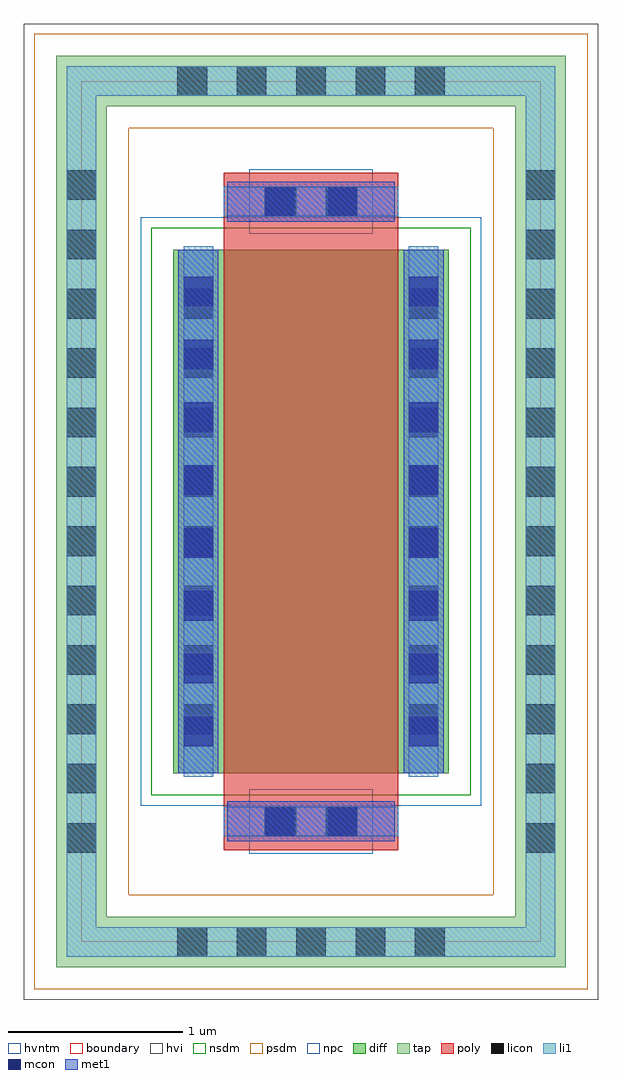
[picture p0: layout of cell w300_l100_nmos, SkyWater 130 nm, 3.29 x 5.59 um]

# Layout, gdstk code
import gdstk
lib = gdstk.Library(unit=1e-6, precision=1e-09)
def R(c, l, rs):  # rectangles x0, y0, x1, y1
    for r in rs: c.add(gdstk.rectangle(r[:2], r[2:], *l))
def A(c, l, x, y, w, h, nx, ny, dx, dy):  # array of equal rectangles
    R(c, l, [(x+i*dx, y+j*dy, x+i*dx+w, y+j*dy+h) for i in range(nx) for j in range(ny)])
diff = (65, 20)
tap = (65, 44)
poly = (66, 20)
licon = (66, 44)
li1 = (67, 20)
mcon = (67, 44)
met1 = (68, 20)
hvi = (75, 20)
nsdm = (93, 44)
psdm = (94, 20)
npc = (95, 20)
hvntm = (125, 20)
boundary = (235, 4)

sky130_fd_pr__nfet_g5v0d = lib.new_cell('sky130_fd_pr__nfet_g5v0d10v5')

w300_l100_nmos = lib.new_cell('w300_l100_nmos')
R(w300_l100_nmos, diff, [(-0.79,-1.5,0.79,1.5)])
R(w300_l100_nmos, tap, [(-1.46,-2.61,1.46,-2.32), (-1.46,-2.32,-1.17,2.32), (1.17,-2.32,1.46,2.32), (-1.46,2.32,1.46,2.61)])
R(w300_l100_nmos, poly, [(-0.5,-1.94,0.5,1.94)])
A(w300_l100_nmos, licon, -0.765, -2.55, 0.17, 0.17, 5, 2, 0.34, 4.93)
A(w300_l100_nmos, licon, -1.4, -1.955, 0.17, 0.17, 1, 12, 0, 0.34)
A(w300_l100_nmos, licon, 1.23, -1.955, 0.17, 0.17, 1, 12, 0, 0.34)
A(w300_l100_nmos, licon, -0.73, -1.275, 0.17, 0.17, 1, 8, 0, 0.34)
A(w300_l100_nmos, licon, 0.56, -1.275, 0.17, 0.17, 1, 8, 0, 0.34)
R(w300_l100_nmos, licon, [(-0.255,-1.86,-0.085,-1.69), (0.085,-1.86,0.255,-1.69), (-0.255,1.69,-0.085,1.86), (0.085,1.69,0.255,1.86)])
R(w300_l100_nmos, li1, [(-1.4,-2.55,1.4,-2.38), (-1.4,-2.38,-1.23,2.38), (1.23,-2.38,1.4,2.38), (-0.5,-1.86,0.5,-1.69), (-0.73,-1.52,-0.56,1.52), (0.56,-1.52,0.73,1.52), (-0.5,1.69,0.5,1.86), (-1.4,2.38,1.4,2.55)])
A(w300_l100_nmos, mcon, -0.73, -1.345, 0.17, 0.17, 1, 8, 0, 0.36)
A(w300_l100_nmos, mcon, 0.56, -1.345, 0.17, 0.17, 1, 8, 0, 0.36)
R(w300_l100_nmos, mcon, [(-0.265,-1.86,-0.095,-1.69), (0.095,-1.86,0.265,-1.69), (-0.265,1.69,-0.095,1.86), (0.095,1.69,0.265,1.86)])
R(w300_l100_nmos, met1, [(-0.48,-1.89,0.48,-1.66), (-0.76,-1.5,-0.53,1.5), (0.53,-1.5,0.76,1.5), (-0.48,1.66,0.48,1.89)])
R(w300_l100_nmos, hvi, [(-1.645,-2.795,1.645,2.795)])
R(w300_l100_nmos, nsdm, [(-0.915,-1.625,0.915,1.625)])
R(w300_l100_nmos, psdm, [(-1.585,-2.735,1.585,-2.195), (-1.585,-2.195,-1.045,2.195), (1.045,-2.195,1.585,2.195), (-1.585,2.195,1.585,2.735)])
R(w300_l100_nmos, npc, [(-0.355,-1.96,0.355,-1.59), (-0.355,1.59,0.355,1.96)])
R(w300_l100_nmos, hvntm, [(-0.975,-1.685,0.975,1.685)])
R(w300_l100_nmos, boundary, [(-1.315,-2.465,1.315,2.465)])
w300_l100_nmos.add(gdstk.Reference(sky130_fd_pr__nfet_g5v0d, (0,0)))

lib.write_gds('w300_l100_nmos.gds')
